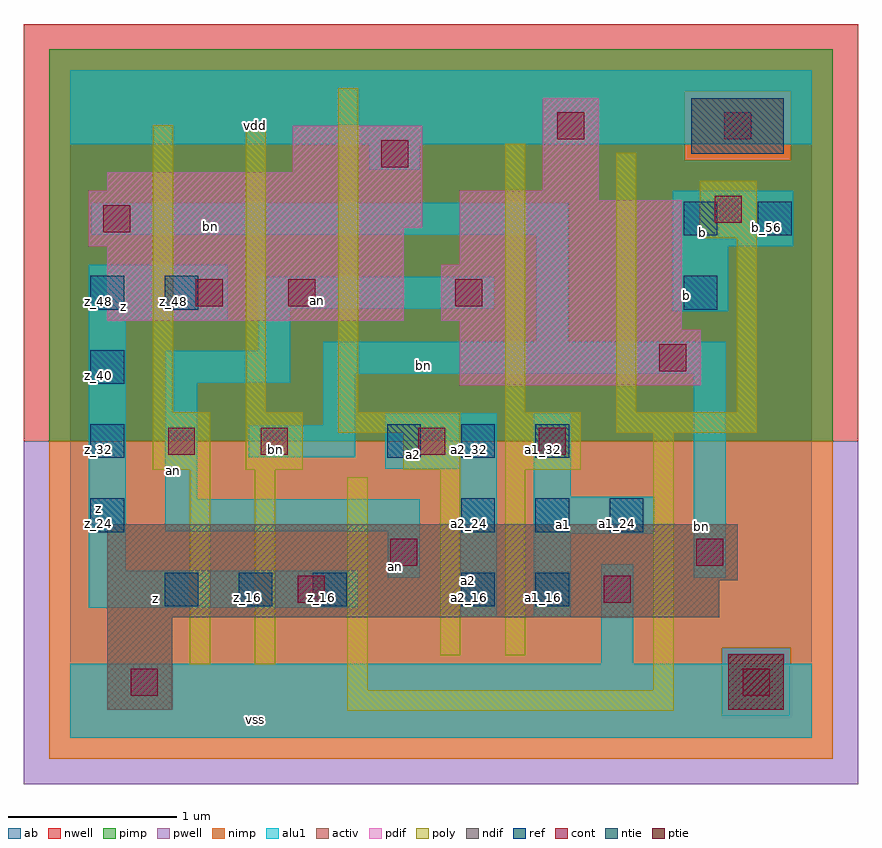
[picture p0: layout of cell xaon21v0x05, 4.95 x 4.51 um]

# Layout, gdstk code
import gdstk
lib = gdstk.Library(unit=1e-6, precision=2.5e-09)
def R(c, l, rs):  # rectangles x0, y0, x1, y1
    for r in rs: c.add(gdstk.rectangle(r[:2], r[2:], *l))
def A(c, l, x, y, w, h, nx, ny, dx, dy):  # array of equal rectangles
    R(c, l, [(x+i*dx, y+j*dy, x+i*dx+w, y+j*dy+h) for i in range(nx) for j in range(ny)])
ndif = (3, 0)
pdif = (4, 0)
ntie = (5, 0)
ptie = (6, 0)
ref = (24, 0)
cont = (25, 0)
pwell = (41, 0)
nwell = (42, 0)
activ = (43, 0)
pimp = (44, 0)
nimp = (45, 0)
poly = (46, 0)
alu1 = (49, 0)
ab = (63, 0)

xaon21v0x05 = lib.new_cell('xaon21v0x05')
R(xaon21v0x05, ndif, [(0.22,0.165,0.605,0.715), (0.22,0.715,3.85,0.935), (0.22,0.935,3.96,1.265)])
R(xaon21v0x05, pdif, [(2.31,2.09,3.74,2.42), (2.31,2.42,3.63,2.475), (0.22,2.475,1.98,2.915), (2.2,2.475,3.63,2.805), (2.31,2.805,3.63,3.19), (0.11,2.915,1.98,3.025), (0.11,3.025,2.09,3.245), (2.31,3.19,3.135,3.245), (0.22,3.245,2.09,3.355), (2.805,3.245,3.135,3.795), (1.32,3.355,2.09,3.63)])
R(xaon21v0x05, ntie, [(3.685,3.465,4.235,3.795)])
R(xaon21v0x05, ptie, [(3.905,0.165,4.235,0.495)])
A(xaon21v0x05, ref, 0.56, 0.78, 0.2, 0.2, 3, 1, 0.44, 0)
A(xaon21v0x05, ref, 0.12, 1.22, 0.2, 0.2, 1, 4, 0, 0.44)
A(xaon21v0x05, ref, 2.32, 1.22, 0.2, 0.2, 3, 1, 0.44, 0)
A(xaon21v0x05, ref, 1.88, 1.66, 0.2, 0.2, 3, 1, 0.44, 0)
R(xaon21v0x05, ref, [(2.32,0.78,2.52,0.98), (2.76,0.78,2.96,0.98), (0.56,2.54,0.76,2.74), (3.64,2.54,3.84,2.74), (3.64,2.98,3.84,3.18), (4.08,2.98,4.28,3.18)])
R(xaon21v0x05, cont, [(0.36,0.25,0.52,0.41), (3.99,0.25,4.15,0.41), (1.35,0.8,1.51,0.96), (3.165,0.8,3.325,0.96), (1.9,1.02,2.06,1.18), (3.715,1.02,3.875,1.18), (0.58,1.68,0.74,1.84), (1.13,1.68,1.29,1.84), (2.065,1.68,2.225,1.84), (2.78,1.68,2.94,1.84), (3.495,2.175,3.655,2.335), (0.745,2.56,0.905,2.72), (1.295,2.56,1.455,2.72), (2.285,2.56,2.445,2.72), (0.195,3,0.355,3.16), (3.825,3.055,3.985,3.215), (1.845,3.385,2.005,3.545), (2.89,3.55,3.05,3.71), (3.88,3.55,4.04,3.71)])
R(xaon21v0x05, pwell, [(-0.275,-0.275,4.675,1.76)])
R(xaon21v0x05, nwell, [(-0.275,1.76,4.675,4.235)])
R(xaon21v0x05, activ, [(0.22,0.165,0.605,0.715), (3.905,0.165,4.235,0.495), (0.22,0.715,3.85,0.935), (0.22,0.935,3.96,1.265), (2.31,2.09,3.74,2.42), (2.31,2.42,3.63,2.475), (0.22,2.475,1.98,2.915), (2.2,2.475,3.63,2.805), (2.31,2.805,3.63,3.19), (0.11,2.915,1.98,3.025), (0.11,3.025,2.09,3.245), (2.31,3.19,3.135,3.245), (0.22,3.245,2.09,3.355), (2.805,3.245,3.135,3.795), (1.32,3.355,2.09,3.63), (3.685,3.465,4.235,3.795)])
R(xaon21v0x05, pimp, [(3.865,0.125,4.275,0.535), (-0.125,1.76,4.525,3.425), (-0.125,3.425,3.645,3.835), (4.275,3.425,4.525,3.835), (-0.125,3.835,4.525,4.085)])
R(xaon21v0x05, nimp, [(-0.125,-0.125,4.525,0.125), (-0.125,0.125,3.865,0.535), (4.275,0.125,4.525,0.535), (-0.125,0.535,4.525,1.76), (3.645,3.425,4.275,3.835)])
R(xaon21v0x05, poly, [(1.645,0.16,3.58,0.28), (1.645,0.28,1.765,1.545), (3.46,0.28,3.58,1.81), (0.71,0.435,0.83,1.59), (1.095,0.435,1.215,1.59), (2.195,0.49,2.315,1.59), (2.58,0.49,2.7,1.59), (0.49,1.59,0.83,1.93), (1.04,1.59,1.38,1.93), (1.975,1.59,2.315,1.81), (2.58,1.59,3.03,1.93), (1.59,1.81,2.315,1.93), (3.24,1.81,4.075,1.93), (0.49,1.93,0.61,3.635), (1.04,1.93,1.16,3.635), (1.59,1.93,1.71,3.855), (2.58,1.93,2.7,3.525), (3.24,1.93,3.36,3.47), (3.955,1.93,4.075,2.965), (3.735,2.965,4.075,3.305)])
R(xaon21v0x05, alu1, [(0,0,4.4,0.44), (3.15,0.44,3.34,1.03), (2.31,0.715,2.53,1.595), (2.75,0.715,2.97,1.21), (0.11,0.77,1.705,0.99), (1.885,0.95,2.075,1.225), (3.7,0.95,3.89,2.16), (0.11,0.99,0.33,2.475), (2.75,1.21,3.465,1.43), (0.565,1.225,2.075,1.415), (0.565,1.415,0.755,2.105), (2.75,1.43,2.97,1.925), (1.87,1.595,2.53,1.925), (1.06,1.665,1.69,1.855), (1.5,1.855,1.69,2.16), (0.565,2.105,1.305,2.295), (1.5,2.16,3.89,2.35), (1.115,2.295,1.305,2.545), (2.765,2.35,2.955,2.985), (0.11,2.475,0.935,2.805), (3.575,2.53,3.905,2.915), (1.115,2.545,2.515,2.735), (3.575,2.915,4.29,3.245), (0.125,2.985,2.955,3.175), (1.775,3.37,2.075,3.52), (0,3.52,4.4,3.96)])
R(xaon21v0x05, ab, [(0,0,4.4,3.96)])
xaon21v0x05.add(gdstk.Label('vss', (1.1,0.11), layer=49, texttype=0))
xaon21v0x05.add(gdstk.Label('bn', (3.7475,1.2525), layer=49, texttype=0))
xaon21v0x05.add(gdstk.Label('a1', (2.9275,1.265), layer=49, texttype=0))
xaon21v0x05.add(gdstk.Label('a2', (2.365,0.935), layer=49, texttype=0))
xaon21v0x05.add(gdstk.Label('an', (1.9325,1.0175), layer=49, texttype=0))
xaon21v0x05.add(gdstk.Label('z', (0.5075,0.825), layer=49, texttype=0))
xaon21v0x05.add(gdstk.Label('a2', (2.035,1.6775), layer=49, texttype=0))
xaon21v0x05.add(gdstk.Label('bn', (1.2175,1.7125), layer=49, texttype=0))
xaon21v0x05.add(gdstk.Label('an', (0.6125,1.5875), layer=49, texttype=0))
xaon21v0x05.add(gdstk.Label('bn', (2.0975,2.2075), layer=49, texttype=0))
xaon21v0x05.add(gdstk.Label('b', (3.6575,2.625), layer=49, texttype=0))
xaon21v0x05.add(gdstk.Label('b', (3.7525,2.9975), layer=49, texttype=0))
xaon21v0x05.add(gdstk.Label('z', (0.165,1.36), layer=49, texttype=0))
xaon21v0x05.add(gdstk.Label('an', (1.465,2.5925), layer=49, texttype=0))
xaon21v0x05.add(gdstk.Label('z', (0.315,2.5575), layer=49, texttype=0))
xaon21v0x05.add(gdstk.Label('bn', (0.8325,3.0325), layer=49, texttype=0))
xaon21v0x05.add(gdstk.Label('vdd', (1.1,3.63), layer=49, texttype=0))
xaon21v0x05.add(gdstk.Label('z_16', (0.61,0.83), layer=24, texttype=0))
xaon21v0x05.add(gdstk.Label('z_48', (0.61,2.59), layer=24, texttype=0))
xaon21v0x05.add(gdstk.Label('z_16', (1.05,0.83), layer=24, texttype=0))
xaon21v0x05.add(gdstk.Label('z_16', (1.49,0.83), layer=24, texttype=0))
xaon21v0x05.add(gdstk.Label('a2_32', (1.93,1.71), layer=24, texttype=0))
xaon21v0x05.add(gdstk.Label('z_24', (0.17,1.27), layer=24, texttype=0))
xaon21v0x05.add(gdstk.Label('z_32', (0.17,1.71), layer=24, texttype=0))
xaon21v0x05.add(gdstk.Label('z_40', (0.17,2.15), layer=24, texttype=0))
xaon21v0x05.add(gdstk.Label('z_48', (0.17,2.59), layer=24, texttype=0))
xaon21v0x05.add(gdstk.Label('a2_16', (2.37,0.83), layer=24, texttype=0))
xaon21v0x05.add(gdstk.Label('a2_24', (2.37,1.27), layer=24, texttype=0))
xaon21v0x05.add(gdstk.Label('a2_32', (2.37,1.71), layer=24, texttype=0))
xaon21v0x05.add(gdstk.Label('a1_16', (2.81,0.83), layer=24, texttype=0))
xaon21v0x05.add(gdstk.Label('a1_24', (2.81,1.27), layer=24, texttype=0))
xaon21v0x05.add(gdstk.Label('a1_32', (2.81,1.71), layer=24, texttype=0))
xaon21v0x05.add(gdstk.Label('a1_24', (3.25,1.27), layer=24, texttype=0))
xaon21v0x05.add(gdstk.Label('b_48', (3.69,2.59), layer=24, texttype=0))
xaon21v0x05.add(gdstk.Label('b_56', (3.69,3.03), layer=24, texttype=0))
xaon21v0x05.add(gdstk.Label('b_56', (4.13,3.03), layer=24, texttype=0))

lib.write_gds('xaon21v0x05.gds')
